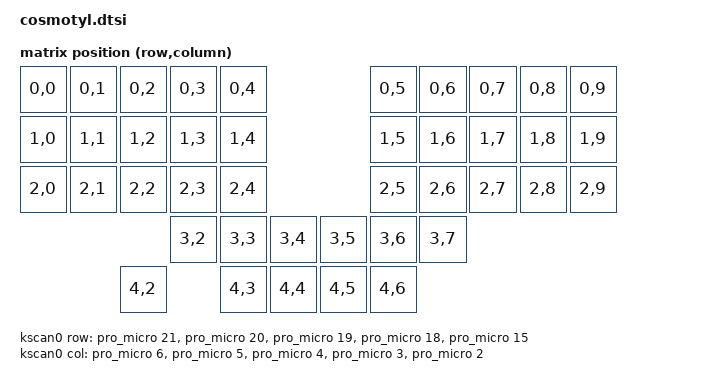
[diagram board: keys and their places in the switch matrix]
/*
 * Copyright (c) 2020 Pete Johanson
 *
 * SPDX-License-Identifier: MIT
 */

#include <dt-bindings/zmk/matrix_transform.h>
#include "cosmotyl-layouts.dtsi"

/ {
    chosen {
        zmk,physical-layout = &default_layout;
    };

    default_transform: keymap_transform {
        compatible = "zmk,matrix-transform";
        columns = <11>;
        rows = <5>;
// | SW2  | SW3  | SW4  | SW5  | SW6  |   | SW6  | SW5  | SW4  | SW3  | SW2  |
// | SW8  | SW9  | SW10 | SW11 | SW12 |   | SW12 | SW11 | SW10 | SW9  | SW8  |
// | SW14 | SW15 | SW16 | SW17 | SW18 |   | SW18 | SW17 | SW16 | SW15 | SW14 |
//                      | SW19 | SW20 | SW21 |   | SW21 | SW20 | SW19 |
        map = <
RC(0,0) RC(0,1) RC(0,2) RC(0,3) RC(0,4)                      RC(0,5) RC(0,6) RC(0,7) RC(0,8) RC(0,9)
RC(1,0) RC(1,1) RC(1,2) RC(1,3) RC(1,4)                      RC(1,5) RC(1,6) RC(1,7) RC(1,8) RC(1,9)
RC(2,0) RC(2,1) RC(2,2) RC(2,3) RC(2,4)                      RC(2,5) RC(2,6) RC(2,7) RC(2,8) RC(2,9)
                          RC(3,2) RC(3,3) RC(3,4)    RC(3,5) RC(3,6) RC(3,7)
                RC(4,2)           RC(4,3) RC(4,4)    RC(4,5) RC(4,6)
        >;
    };

    left_encoder: encoder_left {
      status = "disabled";
      compatible = "alps,ec11";
      steps = <80>;
    };

    sensors: sensors {
      compatible = "zmk,keymap-sensors";
      sensors = <&left_encoder>;
      triggers-per-rotation = <20>;
    };

    kscan0: kscan {
        compatible = "zmk,kscan-gpio-matrix";
        wakeup-source;

        diode-direction = "col2row";
        col-gpios
            = <&pro_micro 6 GPIO_ACTIVE_HIGH>
            , <&pro_micro 5 GPIO_ACTIVE_HIGH>
            , <&pro_micro 4 GPIO_ACTIVE_HIGH>
            , <&pro_micro 3 GPIO_ACTIVE_HIGH>
            , <&pro_micro 2 GPIO_ACTIVE_HIGH>
            ;

        row-gpios
            = <&pro_micro 21 (GPIO_ACTIVE_HIGH | GPIO_PULL_DOWN)>
            , <&pro_micro 20 (GPIO_ACTIVE_HIGH | GPIO_PULL_DOWN)>
            , <&pro_micro 19 (GPIO_ACTIVE_HIGH | GPIO_PULL_DOWN)>
            , <&pro_micro 18 (GPIO_ACTIVE_HIGH | GPIO_PULL_DOWN)>
            , <&pro_micro 15 (GPIO_ACTIVE_HIGH | GPIO_PULL_DOWN)>
            ;
    };
};

&pro_micro_i2c {
    status = "okay";
};
